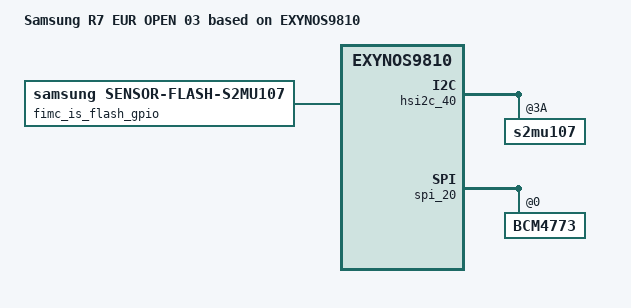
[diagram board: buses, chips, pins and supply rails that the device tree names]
/*
 * SAMSUNG EXYNOS9810 board device tree source
 *
 * Copyright (c) 2017 Samsung Electronics Co., Ltd.
 *		http://www.samsung.com
 *
 * This program is free software; you can redistribute it and/or modify
 * it under the terms of the GNU General Public License version 2 as
 * published by the Free Software Foundation.
*/

/dts-v1/;
/plugin/;

#include "exynos9810-r7_common.dtsi"
#include "exynos9810-r7_s2mu107.dtsi"
#include "exynos9810-r7_nfc_00.dtsi"
#include "exynos9810-sensorhub.dtsi"
#include "exynos9810-r7_fingerprint_00.dtsi"
#include "exynos9810-r7_eur_open_gpio_00.dtsi"

/ {
	compatible = "samsung,R7 EUR OPEN 03", "samsung,EXYNOS9810";
	dtbo-hw_rev = <4>;
	dtbo-hw_rev_end = <4>;

	fragment@model {
		target-path = "/";
		__overlay__ {
			#address-cells = <2>;
			#size-cells = <1>;

			model = "Samsung R7 EUR OPEN 03 based on EXYNOS9810";
		}; /* end of __overlay__ */
	}; /* end of fragment */
}; /* end of root */

/ {
	fragment@camera {
		target-path = "/";
		__overlay__ {
			/* REAR CAMERA */
			fimc_is_sensor_imx333: fimc-is_sensor_imx333@34 {
				flash {
					product_name = <17>; /* S2MU107 */
				};
			};

			/* REAR CAMERA */
			fimc_is_sensor_2l2: fimc-is_sensor_2l2@5A {
				flash {
					product_name = <17>; /* S2MU107 */
				};
			};

			fimc_is_sensor_3m3: fimc-is_sensor_3m3@5A {
				flash {
					product_name = <17>; /* S2MU107 */
				};
			};
			
			/* Ultra Wide CAMERA */
			fimc_is_sensor_3l6: fimc-is_sensor_3l6@10 {
				flash {
					product_name = <17>; /* S2MU107 */
				};
			};
			
			fimc_is_flash_gpio: fimc-is-flash-gpio@0 {
				compatible = "samsung,sensor-flash-s2mu107";				
			};
		}; /* end of __overlay__ */
	}; /* end of fragment */
}; /* end of root */

/* FLASH-LED : leds-s2mu107 */
&hsi2c_40 {
	s2mu107@3A {
		flash_led {
			torch-gpio = <&gpg2 4 0>;
			flash-gpio = <&gpg3 5 0>;
			flash_current = <1400>;
			torch_current = <125>;
			movie_current = <200>;
			factory_current = <350>;
			flashlight_current = <20 40 70 100 150>;
			status = "okay";
		};
	};
};

&spi_20 {
	BCM4773@0 {
		ssp-mag-array = /bits/ 8 <146 79 169 111 17 129 0 139 218 54 186 230 135 179 6 179 249 162 253 125 192 249 29 157 10 5 178>;
	};
};

